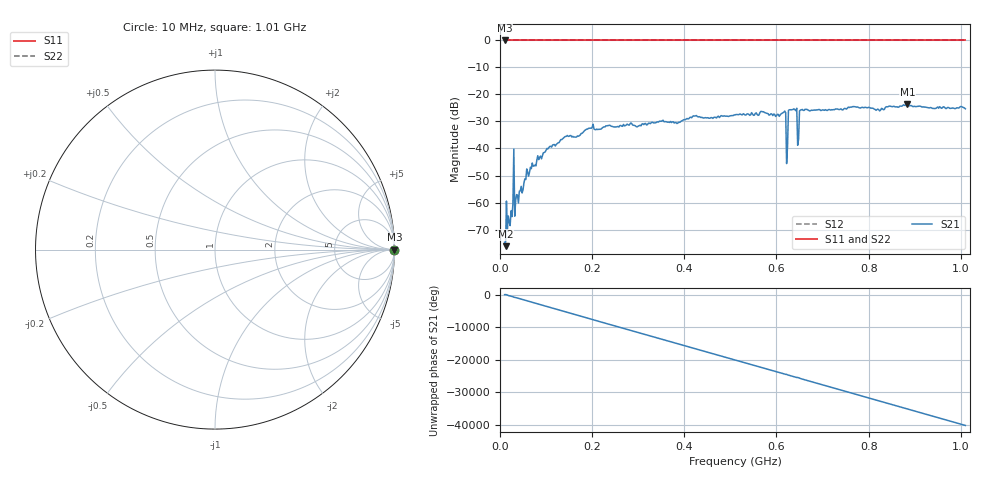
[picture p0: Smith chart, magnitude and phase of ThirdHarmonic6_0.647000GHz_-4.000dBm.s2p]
! 8/15/2025 9:26:28 PM
! C:\ANRITSUVNA\TEMP\TEMP.S2P
! CHANNEL.1
! TR.MEASUREMENT
! RAW.DATA
! RF.CORRECTION.OFF
! AVERAGING.OFF
! IF.BANDWIDTH: 5KHZ
! SWEEPTYPE:  FREQ.SWEEP(Linear)
! Reference Plane Port Info
! PORT:  PORT1  PORT2
! DISTANCE:  0  m  0  m
! TIME:  0  s  0  s
! PHASE.OFFSET:  0  deg.  0  deg.
! LOSS:  0  dB  0  dB
! REF.LOSS:  0  dB  0  dB
! REF.FREQ:  0  Hz  0  Hz
! Power Info
! POWER:  -20  dBm  -20  dBm
! EFF.POWER:  -20  dBm  -20  dBm
! SOURCE.ATTEN:  0  dB  0  dB
! TEST.ATTEN:  0  dB  0  dB
# GHZ S RI R 50.0
! FREQ.GHZ  S11RE  S11IM  S21RE  S21IM  S12RE  S12IM  S22RE  S22IM
!; PortSelection: Port_12
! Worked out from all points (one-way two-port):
!   501 points, 10 MHz to 1.01 GHz, reference 50 ohm
!   highest |S21| = -23.71 dB at 884 MHz (marker M1); lowest = -76.2 dB at 12 MHz (marker M2)
!   lowest |S11| = 0.0 dB at 10 MHz (marker M3)
!   |S11| at or under -10 dB: nowhere
!   |S22| runs from 0.0 to 0.0 dB; largest |S21 - S12| = 1.1
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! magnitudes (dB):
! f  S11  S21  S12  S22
! 10 MHz  0.0  -74.7  0.0  0.0
! 12 MHz  0.0  -76.2  0.0  0.0
! 24 MHz  0.0  -63.1  0.0  0.0
! 26 MHz  0.0  -65.2  0.0  0.0
! 32 MHz  0.0  -65.1  0.0  0.0
! 36 MHz  0.0  -57.1  0.0  0.0
! 84 MHz  0.0  -44.1  0.0  0.0
! 178 MHz  0.0  -34.4  0.0  0.0
! 344 MHz  0.0  -30.2  0.0  0.0
! 510 MHz  0.0  -27.6  0.0  0.0
! 616 MHz  0.0  -26.5  0.0  0.0
! 620 MHz  0.0  -26.7  0.0  0.0
! 626 MHz  0.0  -25.9  0.0  0.0
! 630 MHz  0.0  -25.6  0.0  0.0
! 640 MHz  0.0  -25.6  0.0  0.0
! 644 MHz  0.0  -25.1  0.0  0.0
! 650 MHz  0.0  -26.1  0.0  0.0
! 654 MHz  0.0  -25.7  0.0  0.0
! 678 MHz  0.0  -25.9  0.0  0.0
! 844 MHz  0.0  -24.4  0.0  0.0
! 884 MHz  0.0  -23.7  0.0  0.0
! 1.01 GHz  0.0  -25.3  0.0  0.0
